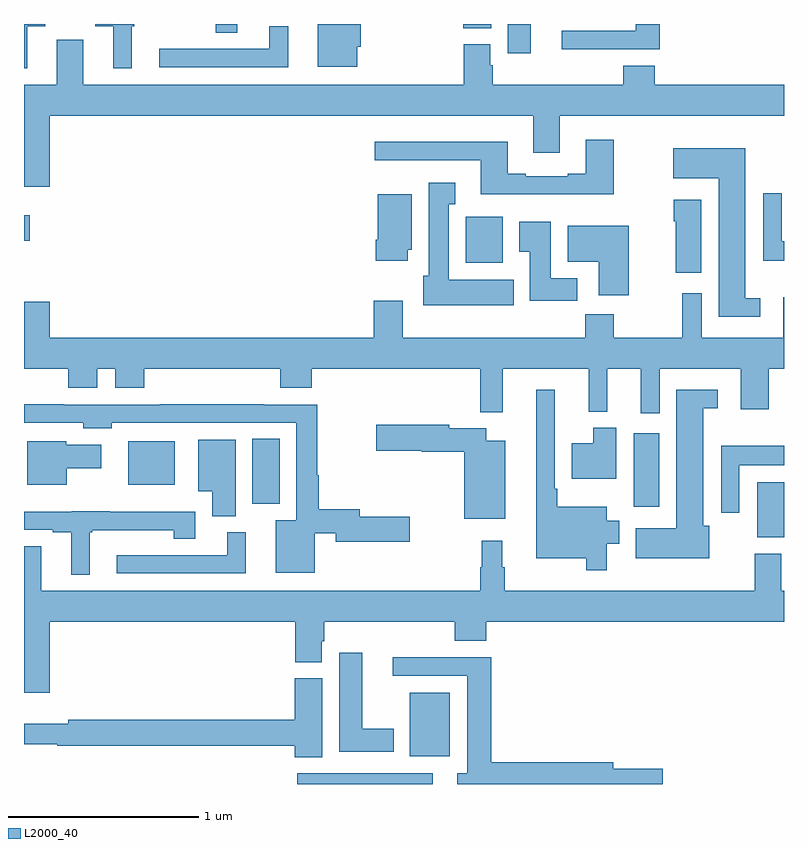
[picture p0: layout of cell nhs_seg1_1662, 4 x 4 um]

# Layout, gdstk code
import gdstk
lib = gdstk.Library(unit=1e-6, precision=1e-09)
def R(c, l, rs):  # rectangles x0, y0, x1, y1
    for r in rs: c.add(gdstk.rectangle(r[:2], r[2:], *l))
def P(c, l, *ps):  # polygons
    for p in ps: c.add(gdstk.Polygon(p, *l))
L2000_40 = (2000, 40)

nhs_seg1_1662 = lib.new_cell('nhs_seg1_1662')
R(nhs_seg1_1662, L2000_40, [(202.439,564.199,203.152,564.255), (203.03,564.344,203.242,564.679), (204.86,565.499,205,565.786), (204.209,565.659,204.343,566.044), (202.202,565.673,202.345,566.015), (201.548,565.775,201.793,566.002), (203.324,566.942,203.521,567.184), (201,567.059,201.031,567.193), (203.546,568.044,203.668,568.199), (202.01,568.153,202.123,568.199), (203.312,568.177,203.458,568.199)])
P(nhs_seg1_1662, L2000_40, [(202.753,568.078),(202.772,568.078),(202.772,568.199),(202.547,568.199),(202.547,567.974),(202.753,567.974)],
  [(201.016,568.188),(201.112,568.188),(201.112,568.199),(201,568.199),(201,567.965),(201.016,567.965)],
  [(201.568,568.188),(201.58,568.188),(201.58,568.199),(201.374,568.199),(201.374,568.188),(201.47,568.188),(201.47,567.965),(201.568,567.965)],
  [(204.347,568.199),(204.221,568.199),(204.221,568.164),(203.829,568.164),(203.829,568.067),(204.347,568.067)],
  [(202.39,568.188),(202.292,568.188),(202.292,568.068),(201.711,568.068),(201.711,567.972),(202.39,567.972)],
  [(201.136,567.716),(203.681,567.716),(203.681,567.522),(203.821,567.522),(203.821,567.716),(205,567.716),(205,567.88),(204.32,567.88),(204.32,567.979),(204.155,567.979),(204.155,567.88),(203.468,567.88),(203.468,567.981),(203.455,567.981),(203.455,568.092),(203.315,568.092),(203.315,567.88),(201.313,567.88),(201.313,568.115),(201.173,568.115),(201.173,567.88),(201,567.88),(201,567.342),(201.136,567.342)],
  [(204.105,567.589),(203.957,567.589),(203.957,567.412),(203.861,567.412),(203.861,567.399),(203.641,567.399),(203.641,567.412),(203.545,567.412),(203.545,567.58),(202.845,567.58),(202.845,567.483),(203.405,567.483),(203.405,567.302),(204.105,567.302)],
  [(204.874,566.756),(204.796,566.756),(204.796,567.544),(204.416,567.544),(204.416,567.386),(204.656,567.386),(204.656,566.658),(204.874,566.658)],
  [(203.578,566.854),(203.236,566.854),(203.236,567.251),(203.269,567.251),(203.269,567.364),(203.129,567.364),(203.129,566.874),(203.102,566.874),(203.102,566.72),(203.578,566.72)],
  [(205,567.055),(204.987,567.055),(204.987,567.307),(204.891,567.307),(204.891,566.954),(205,566.954)],
  [(203.02,567.012),(203.041,567.012),(203.041,567.304),(202.862,567.304),(202.862,567.064),(202.85,567.064),(202.85,566.952),(203.02,566.952)],
  [(204.565,567.274),(204.419,567.274),(204.419,567.161),(204.431,567.161),(204.431,566.889),(204.565,566.889)],
  [(203.912,566.86),(203.773,566.86),(203.773,567.157),(203.606,567.157),(203.606,567.001),(203.663,567.001),(203.663,566.742),(203.912,566.742)],
  [(204.184,567.136),(203.861,567.136),(203.861,566.948),(204.026,566.948),(204.026,566.772),(204.184,566.772)],
  [(204.346,566.384),(204.773,566.384),(204.773,566.172),(204.921,566.172),(204.921,566.384),(205,566.384),(205,566.761),(204.995,566.761),(204.995,566.548),(204.568,566.548),(204.568,566.782),(204.465,566.782),(204.465,566.548),(204.105,566.548),(204.105,566.672),(203.953,566.672),(203.953,566.548),(202.993,566.548),(202.993,566.743),(202.841,566.743),(202.841,566.548),(201.136,566.548),(201.136,566.737),(201,566.737),(201,566.384),(201.233,566.384),(201.233,566.285),(201.385,566.285),(201.385,566.384),(201.479,566.384),(201.479,566.285),(201.632,566.285),(201.632,566.384),(202.349,566.384),(202.349,566.285),(202.514,566.285),(202.514,566.384),(203.401,566.384),(203.401,566.156),(203.519,566.156),(203.519,566.384),(203.972,566.384),(203.972,566.159),(204.07,566.159),(204.07,566.384),(204.245,566.384),(204.245,566.151),(204.346,566.151)],
  [(204.067,565.463),(204.133,565.463),(204.133,565.585),(204.067,565.585),(204.067,565.657),(203.806,565.657),(203.806,565.753),(203.793,565.753),(203.793,566.275),(203.696,566.275),(203.696,565.388),(203.958,565.388),(203.958,565.323),(204.067,565.323)],
  [(204.607,565.559),(204.574,565.559),(204.574,566.177),(204.652,566.177),(204.652,566.274),(204.434,566.274),(204.434,565.546),(204.219,565.546),(204.219,565.388),(204.607,565.388)],
  [(202.531,565.518),(202.64,565.518),(202.64,565.475),(203.029,565.475),(203.029,565.605),(202.768,565.605),(202.768,565.646),(202.55,565.646),(202.55,565.823),(202.543,565.823),(202.543,566.196),(202.265,566.196),(202.265,566.198),(201.715,566.198),(201.715,566.196),(201.212,566.196),(201.212,566.198),(201,566.198),(201,566.1),(201.312,566.1),(201.312,566.072),(201.462,566.072),(201.462,566.1),(202.434,566.1),(202.434,565.588),(202.325,565.588),(202.325,565.31),(202.531,565.31)],
  [(203.533,566.005),(203.434,566.005),(203.434,566.071),(203.238,566.071),(203.238,566.091),(202.854,566.091),(202.854,565.954),(203.094,565.954),(203.094,565.949),(203.318,565.949),(203.318,565.595),(203.533,565.595)],
  [(204.118,566.074),(203.996,566.074),(203.996,565.993),(203.882,565.993),(203.882,565.805),(204.118,565.805)],
  [(202.114,566.011),(201.917,566.011),(201.917,565.739),(201.992,565.739),(201.992,565.609),(202.114,565.609)],
  [(201.226,565.862),(201.406,565.862),(201.406,565.984),(201.222,565.984),(201.222,566.002),(201.017,566.002),(201.017,565.775),(201.226,565.775)],
  [(204.765,565.877),(205,565.877),(205,565.978),(204.669,565.978),(204.669,565.626),(204.765,565.626)],
  [(201.346,565.524),(201.358,565.524),(201.358,565.535),(201.788,565.535),(201.788,565.489),(201.901,565.489),(201.901,565.633),(201.452,565.633),(201.452,565.635),(201.252,565.635),(201.252,565.633),(201,565.633),(201,565.536),(201.152,565.536),(201.152,565.524),(201.248,565.524),(201.248,565.301),(201.346,565.301)],
  [(202.168,565.524),(202.07,565.524),(202.07,565.404),(201.489,565.404),(201.489,565.308),(202.168,565.308)],
  [(201.136,565.052),(202.427,565.052),(202.427,564.841),(202.567,564.841),(202.567,564.951),(202.58,564.951),(202.58,565.052),(203.267,565.052),(203.267,564.953),(203.432,564.953),(203.432,565.052),(205,565.052),(205,565.216),(204.985,565.216),(204.985,565.411),(204.845,565.411),(204.845,565.216),(203.53,565.216),(203.53,565.34),(203.518,565.34),(203.518,565.48),(203.409,565.48),(203.409,565.34),(203.401,565.34),(203.401,565.216),(201.091,565.216),(201.091,565.451),(201,565.451),(201,564.678),(201.136,564.678)],
  [(202.945,564.49),(202.78,564.49),(202.78,564.889),(202.658,564.889),(202.658,564.368),(202.945,564.368)],
  [(204.361,564.278),(204.1,564.278),(204.1,564.314),(203.459,564.314),(203.459,564.866),(202.941,564.866),(202.941,564.768),(203.333,564.768),(203.333,564.256),(203.279,564.256),(203.279,564.199),(204.361,564.199)],
  [(202.57,564.756),(202.424,564.756),(202.424,564.536),(201.232,564.536),(201.232,564.517),(201,564.517),(201,564.408),(201.176,564.408),(201.176,564.4),(202.424,564.4),(202.424,564.34),(202.57,564.34)])

lib.write_gds('nhs_seg1_1662.gds')
